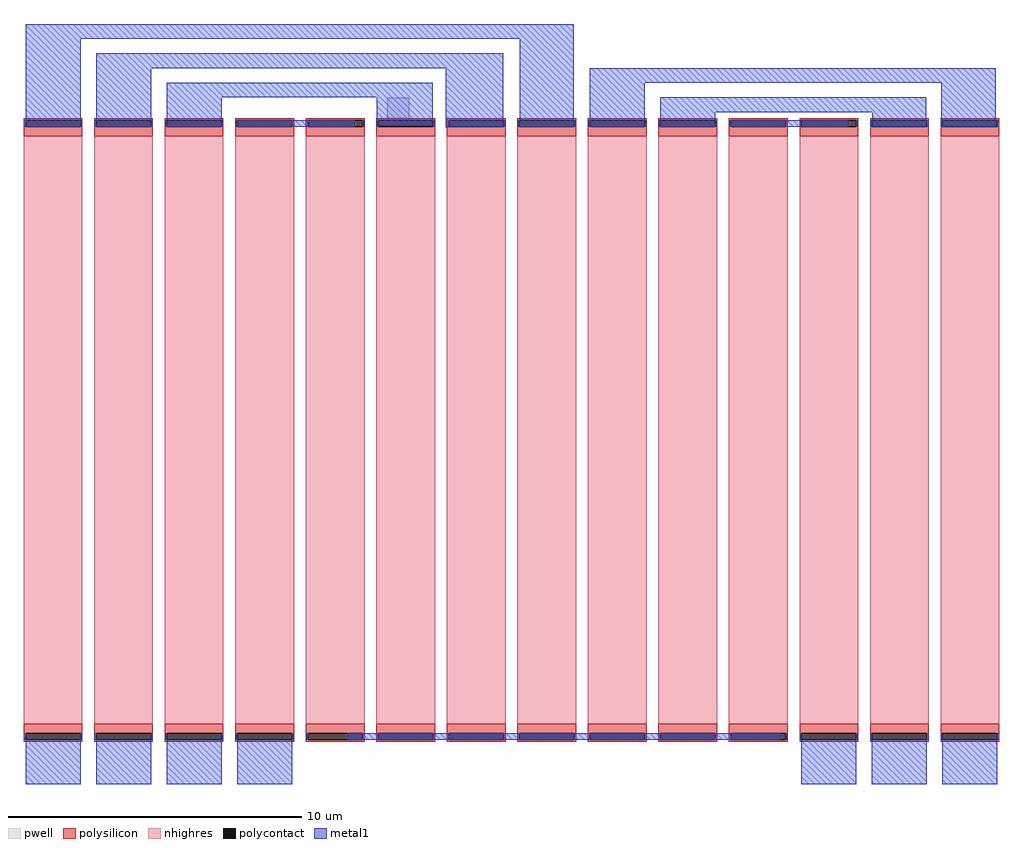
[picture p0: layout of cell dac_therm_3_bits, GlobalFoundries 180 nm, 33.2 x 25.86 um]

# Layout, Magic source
magic
tech gf180mcuD
magscale 1 10
<< metal1 >>
rect -627 300 223 346
use dac_sub_therm1  dac_sub_therm1_0
transform 1 0 -336 0 1 111
box 176 -111 2976 4761
use dac_sub_therm2  dac_sub_therm2_0
transform 1 0 -4176 0 1 111
box 176 -111 3936 5061
<< end >>

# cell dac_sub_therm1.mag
magic
tech gf180mcuD
magscale 1 10
<< metal1 >>
rect 189 4661 2950 4761
rect 189 4361 563 4661
rect 669 4461 2480 4561
rect 669 4361 1043 4461
rect 1149 4361 1949 4407
rect 2110 4360 2480 4461
rect 2580 4360 2950 4661
rect 189 189 1489 235
rect 1629 -111 2003 189
rect 2109 -111 2483 189
rect 2589 -111 2963 189
use ppolyf_u_1k_9VZ9QZ  ppolyf_u_1k_9VZ9QZ_0
transform 1 0 1576 0 1 2298
box -1400 -2122 1400 2122
<< labels >>
flabel metal1 1629 -111 2003 189 0 FreeSans 1600 0 0 0 T[4]
port 0 nsew
flabel metal1 2109 -111 2483 189 0 FreeSans 1600 0 0 0 T[5]
port 1 nsew
flabel metal1 2589 -111 2963 189 0 FreeSans 1600 0 0 0 T[6]
port 2 nsew
flabel metal1 189 189 1489 235 0 FreeSans 800 0 0 0 DAC_5_3_OUT
port 3 nsew
<< end >>

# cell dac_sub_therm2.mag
magic
tech gf180mcuD
magscale 1 10
<< pwell >>
rect 2650 4410 2800 4560
<< metal1 >>
rect 189 4962 3919 5061
rect 189 4961 2689 4962
rect 189 4361 563 4961
rect 669 4761 3440 4861
rect 669 4361 1043 4761
rect 1149 4561 2960 4661
rect 1149 4361 1523 4561
rect 1629 4361 2429 4407
rect 2580 4370 2960 4561
rect 3050 4360 3440 4761
rect 3551 4361 3919 4962
rect 2378 189 3689 235
rect 189 -111 563 189
rect 669 -111 1043 189
rect 1149 -111 1523 189
rect 1629 -111 2003 189
use ppolyf_u_1k_9D8AQZ  ppolyf_u_1k_9D8AQZ_0
transform 1 0 2056 0 1 2298
box -1880 -2122 1880 2122
<< labels >>
flabel metal1 189 -111 563 189 0 FreeSans 1600 0 0 0 T[0]
port 1 nsew
flabel metal1 669 -111 1043 189 0 FreeSans 1600 0 0 0 T[1]
port 2 nsew
flabel metal1 1149 -111 1523 189 0 FreeSans 1600 0 0 0 T[2]
port 4 nsew
flabel metal1 1629 -111 2003 189 0 FreeSans 1600 0 0 0 T[3]
port 5 nsew
flabel metal1 2378 189 3689 235 0 FreeSans 800 0 0 0 DAC_5_3_OUT
port 7 nsew
<< end >>

# cell ppolyf_u_1k_9D8AQZ: kit device ppolyf_u_1k, w 2 l 20 m 1 nx 8 wmin 1.000 lmin 1.000 class resistor rho 1000 val 10.0k dummy 0 dw 0.0 term 0.0 sterm 0.0 caplen 0.4 snake 0 glc 0 grc 0 gtc 0 gbc 0 roverlap 0 endcov 100 full_metal 0 compatible {ppolyf_u_1k ppolyf_u_1k_6p0}

# cell ppolyf_u_1k_9VZ9QZ: kit device ppolyf_u_1k, w 2 l 20 m 1 nx 6 wmin 1.000 lmin 1.000 class resistor rho 1000 val 10.0k dummy 0 dw 0.0 term 0.0 sterm 0.0 caplen 0.4 snake 0 glc 0 grc 0 gtc 0 gbc 0 roverlap 0 endcov 100 full_metal 0 compatible {ppolyf_u_1k ppolyf_u_1k_6p0}
